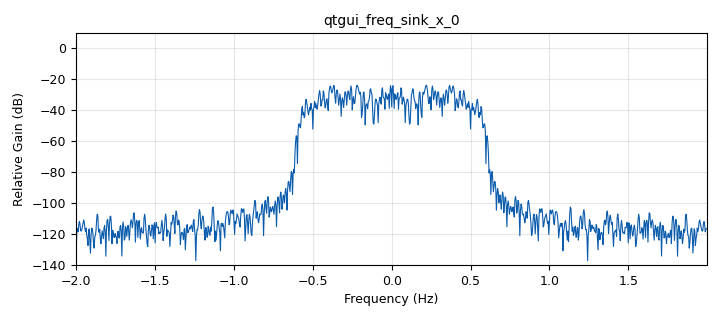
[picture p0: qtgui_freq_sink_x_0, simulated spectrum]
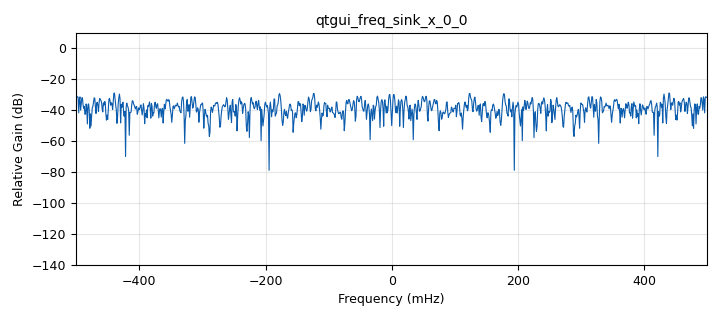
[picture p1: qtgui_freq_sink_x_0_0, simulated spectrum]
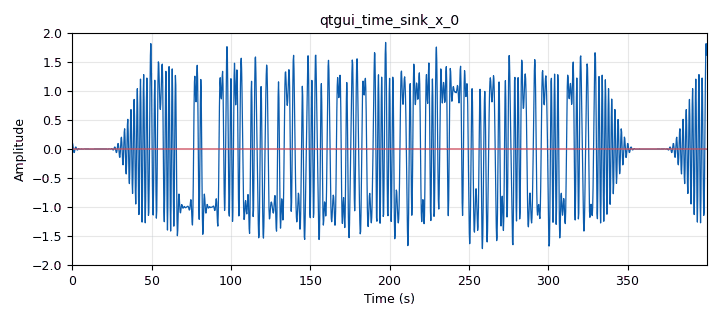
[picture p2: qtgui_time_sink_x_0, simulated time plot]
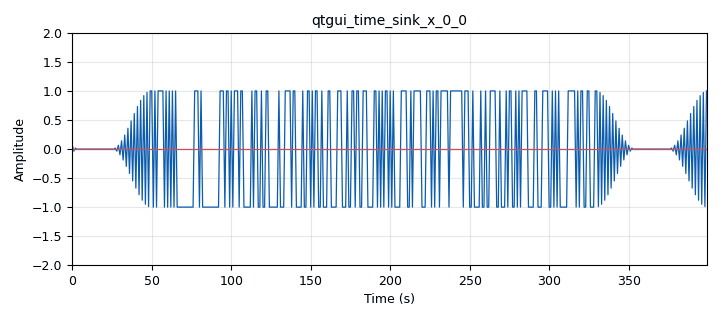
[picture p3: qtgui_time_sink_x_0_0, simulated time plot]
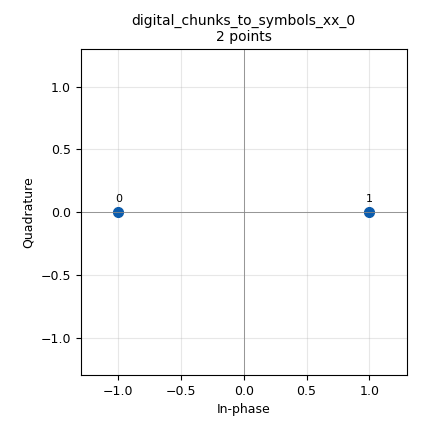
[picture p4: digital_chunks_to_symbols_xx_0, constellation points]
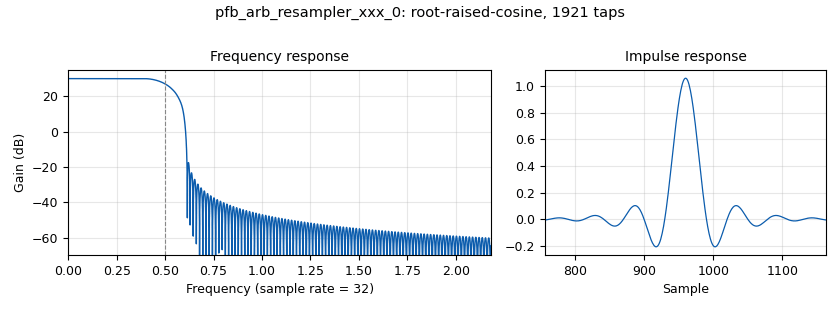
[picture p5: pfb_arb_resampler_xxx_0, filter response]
options:
  parameters:
    category: Custom
    generate_options: qt_gui
    id: tx_stage4
    output_language: python
  states: {}

blocks:
- name: bps
  id: variable
  parameters:
    value: pld_const.bits_per_symbol()
  states: {}
- name: eb
  id: variable
  parameters:
    value: '0.22'
  states: {}
- name: filt_delay
  id: variable
  parameters:
    value: int(1+(taps_per_filt-1)//2)
  states: {}
- name: hdr_const
  id: variable_constellation
  parameters:
    const_points: digital.psk_2()[0]
    dims: '1'
    normalization: digital.constellation.AMPLITUDE_NORMALIZATION
    precision: '8'
    rot_sym: '2'
    soft_dec_lut: '''auto'''
    sym_map: digital.psk_2()[1]
    type: calcdist
  states: {}
- name: hdr_format
  id: variable_header_format_default
  parameters:
    access_code: '''10101010111101010101'''
    bps: '1'
    threshold: thresh
  states: {}
- name: hdr_format
  id: variable
  parameters:
    value: digital.header_format_counter(digital.packet_utils.default_access_code, thresh, bps)
  states: {state: disabled}
- name: nfilts
  id: variable
  parameters:
    value: '32'
  states: {}
- name: pld_const
  id: variable_constellation
  parameters:
    const_points: digital.psk_2()[0]
    dims: '1'
    normalization: digital.constellation.AMPLITUDE_NORMALIZATION
    precision: '8'
    rot_sym: '2'
    soft_dec_lut: '''auto'''
    sym_map: digital.psk_2()[1]
    type: calcdist
  states: {}
- name: psf_taps
  id: variable_rrc_filter_taps
  parameters:
    alpha: eb
    gain: nfilts
    ntaps: 15*sps*nfilts
    samp_rate: nfilts
    sym_rate: '1.0'
  states: {}
- name: sps
  id: variable
  parameters:
    value: '4'
  states: {}
- name: taps_per_filt
  id: variable
  parameters:
    value: int(len(psf_taps)/nfilts)
  states: {}
- name: thresh
  id: variable
  parameters:
    value: '3'
  states: {}
- name: blocks_message_debug_0
  id: blocks_message_debug
  parameters: {}
  states: {}
- name: blocks_message_strobe_0
  id: blocks_message_strobe
  parameters:
    msg: pmt.PMT_T
    period: '1000'
  states: {}
- name: blocks_repack_bits_bb_0
  id: blocks_repack_bits_bb
  parameters:
    endianness: gr.GR_MSB_FIRST
    k: '8'
    l: hdr_const.bits_per_symbol()
    len_tag_key: packet_len
  states: {}
- name: blocks_repack_bits_bb_0_0
  id: blocks_repack_bits_bb
  parameters:
    endianness: gr.GR_MSB_FIRST
    k: '8'
    l: pld_const.bits_per_symbol()
    len_tag_key: packet_len
  states: {}
- name: blocks_tagged_stream_mux_0
  id: blocks_tagged_stream_mux
  parameters:
    comment: |-
      将 N 个流作为输入。每个流都标有数据包长度。数据包从每个输入流顺序输出。
      输出信号具有新的长度标签，它是所有单独长度标签的总和。旧的长度标签将被丢弃。
    lengthtagname: packet_len
    ninputs: '2'
    type: complex
  states: {}
- name: digital_burst_shaper_xx_0
  id: digital_burst_shaper_xx
  parameters:
    insert_phasing: 'True'
    length_tag_name: '"packet_len"'
    post_padding: '10'
    pre_padding: '10'
    type: complex
    window: firdes.window(window.WIN_HANN, 50, 0)
  states: {}
- name: digital_chunks_to_symbols_xx_0
  id: digital_chunks_to_symbols_xx
  parameters:
    dimension: '1'
    in_type: byte
    out_type: complex
    symbol_table: hdr_const.points()
  states: {}
- name: digital_chunks_to_symbols_xx_0_0
  id: digital_chunks_to_symbols_xx
  parameters:
    comment: |-
      采用星座图，bps = 1，因此 Constellation Points 只有 -1,1，
      Symbol Map 有 0, 1
      Rotational Symmetry：每旋转星座图 360 度，会有多少次对称（2 次）
      Dimensionality：维度，通常为 1
      Normalization Type：归一化类型（幅度归一化）
    dimension: '1'
    in_type: byte
    out_type: complex
    symbol_table: pld_const.points()
  states: {}
- name: digital_crc32_async_bb_1
  id: digital_crc32_async_bb
  parameters:
    check: 'False'
  states: {}
- name: digital_map_bb_1
  id: digital_map_bb
  parameters:
    map: hdr_const.pre_diff_code()
  states: {}
- name: digital_map_bb_1_0
  id: digital_map_bb
  parameters:
    comment: output[i] = map[input[i]]
    map: pld_const.pre_diff_code()
  states: {}
- name: digital_protocol_formatter_async_0
  id: digital_protocol_formatter_async
  parameters:
    format: hdr_format
  states: {}
- name: mod_header
  id: virtual_sink
  parameters:
    stream_id: Mod Header
  states: {}
- name: mod_payload
  id: virtual_sink
  parameters:
    stream_id: Mod Payload
  states: {}
- name: note_0
  id: note
  parameters:
    comment: |-
      resampling rate(r) = 4
      number of filters (nfilts)(N) = 32  
      self._taps = filter.firdes.low_pass_2(32, 32*fs, BW, TB, attenuation_dB=ATT, window=filter.firdes.WIN_BLACKMAN_hARRIS)
      D = floor(N/r) = 8
      i+1 = (i+D)%N

      基于抽取滤波器多相分解的多速率采样模块设计
      https://journal.bit.edu.cn/zr/article/id/20140216
  states: {}
- name: pdu_pdu_to_tagged_stream_0
  id: pdu_pdu_to_tagged_stream
  parameters:
    tag: packet_len
    type: byte
  states: {}
- name: pdu_pdu_to_tagged_stream_0_0
  id: pdu_pdu_to_tagged_stream
  parameters:
    tag: packet_len
    type: byte
  states: {}
- name: pdu_random_pdu_0
  id: pdu_random_pdu
  parameters:
    length_modulo: '1'
    mask: '0xff'
    maxsize: '50'
    minsize: '15'
  states: {}
- name: pfb_arb_resampler_xxx_0
  id: pfb_arb_resampler_xxx
  parameters:
    atten: '100'
    nfilts: nfilts
    rrate: sps
    samp_delay: filt_delay
    taps: psf_taps
    type: ccf
  states: {}
- name: qtgui_freq_sink_x_0
  id: qtgui_freq_sink_x
  parameters:
    bw: sps
    fc: '0'
    fftsize: '1024'
    gui_hint: tab@1
    legend: 'False'
    showports: 'True'
    type: complex
  states: {}
- name: qtgui_freq_sink_x_0_0
  id: qtgui_freq_sink_x
  parameters:
    bw: '1'
    fc: '0'
    fftsize: '1024'
    gui_hint: tab@1
    legend: 'False'
    showports: 'True'
    type: complex
  states: {}
- name: qtgui_time_sink_x_0
  id: qtgui_time_sink_x
  parameters:
    gui_hint: tab@0
    label1: ''
    label2: ''
    legend: 'False'
    size: 400*sps
    srate: sps
    tr_delay: '15'
    tr_mode: qtgui.TRIG_MODE_TAG
    tr_tag: packet_len
    type: complex
    ymax: '2'
    ymin: '-2'
  states: {}
- name: qtgui_time_sink_x_0_0
  id: qtgui_time_sink_x
  parameters:
    gui_hint: tab@0
    label1: ''
    label2: ''
    legend: 'False'
    size: '400'
    srate: '1'
    tr_delay: '15'
    tr_mode: qtgui.TRIG_MODE_TAG
    tr_tag: packet_len
    type: complex
    ymax: '2'
    ymin: '-2'
  states: {}
- name: rx_mod_header
  id: virtual_source
  parameters:
    stream_id: Mod Header
  states: {}
- name: rx_mod_payload
  id: virtual_source
  parameters:
    stream_id: Mod Payload
  states: {}
- name: tab
  id: qtgui_tab_widget
  parameters:
    label0: Time
    label1: Freq
    num_tabs: '2'
  states: {}

connections:
- [blocks_message_strobe_0, strobe, pdu_random_pdu_0, generate]
- [blocks_repack_bits_bb_0, '0', digital_map_bb_1, '0']
- [blocks_repack_bits_bb_0_0, '0', digital_map_bb_1_0, '0']
- [blocks_tagged_stream_mux_0, '0', digital_burst_shaper_xx_0, '0']
- [digital_burst_shaper_xx_0, '0', pfb_arb_resampler_xxx_0, '0']
- [digital_burst_shaper_xx_0, '0', qtgui_freq_sink_x_0_0, '0']
- [digital_burst_shaper_xx_0, '0', qtgui_time_sink_x_0_0, '0']
- [digital_chunks_to_symbols_xx_0, '0', mod_header, '0']
- [digital_chunks_to_symbols_xx_0_0, '0', mod_payload, '0']
- [digital_crc32_async_bb_1, out, digital_protocol_formatter_async_0, in]
- [digital_map_bb_1, '0', digital_chunks_to_symbols_xx_0, '0']
- [digital_map_bb_1_0, '0', digital_chunks_to_symbols_xx_0_0, '0']
- [digital_protocol_formatter_async_0, header, blocks_message_debug_0, print_pdu]
- [digital_protocol_formatter_async_0, header, pdu_pdu_to_tagged_stream_0_0, pdus]
- [digital_protocol_formatter_async_0, payload, blocks_message_debug_0, print_pdu]
- [digital_protocol_formatter_async_0, payload, pdu_pdu_to_tagged_stream_0, pdus]
- [pdu_pdu_to_tagged_stream_0, '0', blocks_repack_bits_bb_0_0, '0']
- [pdu_pdu_to_tagged_stream_0_0, '0', blocks_repack_bits_bb_0, '0']
- [pdu_random_pdu_0, pdus, digital_crc32_async_bb_1, in]
- [pfb_arb_resampler_xxx_0, '0', qtgui_freq_sink_x_0, '0']
- [pfb_arb_resampler_xxx_0, '0', qtgui_time_sink_x_0, '0']
- [rx_mod_header, '0', blocks_tagged_stream_mux_0, '0']
- [rx_mod_payload, '0', blocks_tagged_stream_mux_0, '1']

metadata:
  file_format: 1
  grc_version: 3.10.9.2
